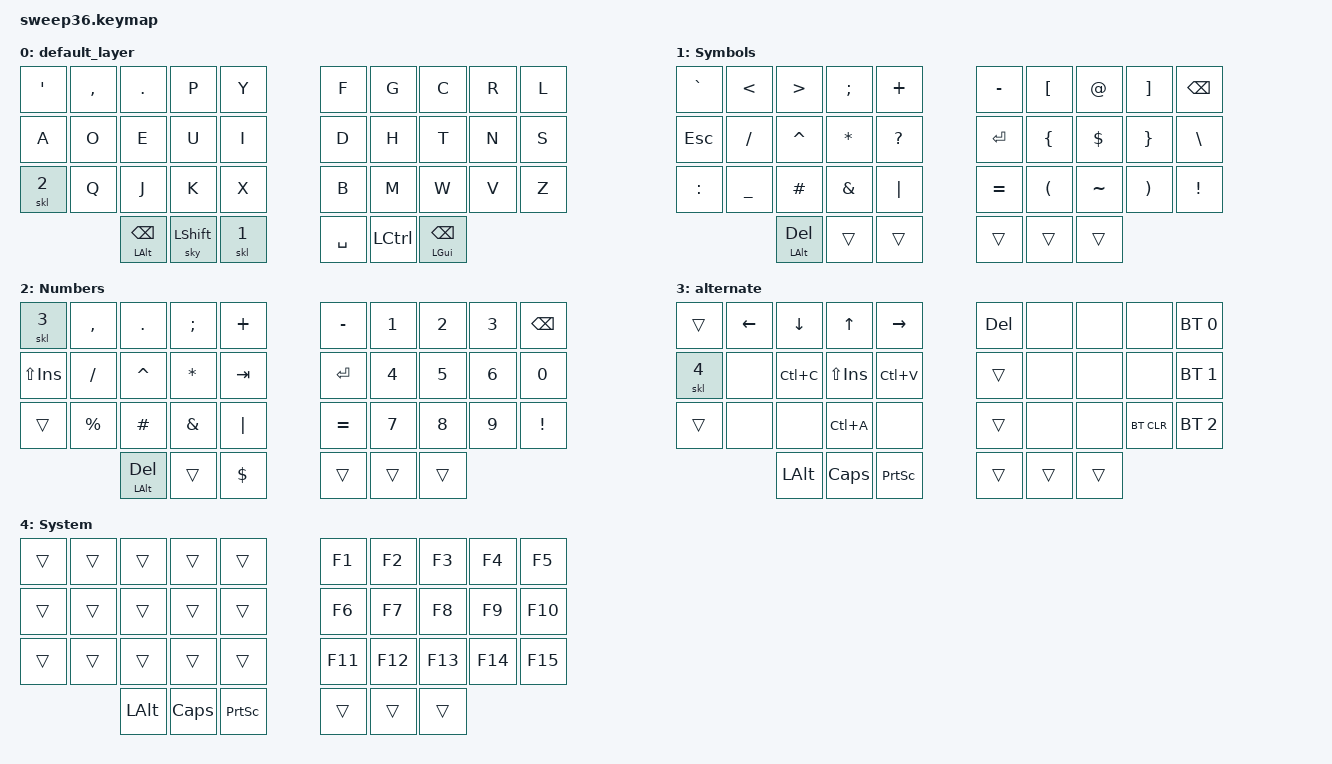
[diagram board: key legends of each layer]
// Copyright (c) 2022 The ZMK Contributors
// SPDX-License-Identifier: MIT

#include <behaviors.dtsi>
#include <dt-bindings/zmk/keys.h>
#include <dt-bindings/zmk/bt.h>


/ {


    behaviors {
        ht: hold_tap {
            label = "hold_tap";
            compatible = "zmk,behavior-hold-tap";
            #binding-cells = <2>;
            flavor = "hold-preferred";
            tapping-term-ms = <200>;
            quick-tap-ms = <200>;
            global-quick-tap;
            bindings = <&kp>, <&kp>;
        };

        skl: sticky_key_quick_release {
        compatible = "zmk,behavior-sticky-key";
        label = "STICKY_KEY_QUICK_RELEASE";
        #binding-cells = <1>;
        bindings = <&mo>;
        quick-release;
        release-after-ms = <150>;
      };
        sky: sticky_mod_quick_release {
        compatible = "zmk,behavior-sticky-key";
        label = "STICKY_MOD_QUICK_RELEASE";
        #binding-cells = <1>;
        bindings = <&kp>;
        quick-release;
        release-after-ms = <230>;
      };

    };
keymap {
        compatible = "zmk,keymap";

        default_layer {
            bindings = <
                &kp SQT     &kp COMMA  &kp DOT   &kp P     &kp Y       &kp F     &kp G     &kp C     &kp R     &kp L
                &kp A       &kp O      &kp E     &kp U     &kp I       &kp D     &kp H     &kp T     &kp N     &kp S
                &skl 2      &kp Q      &kp J     &kp K     &kp X       &kp B     &kp M     &kp W     &kp V     &kp Z
                &ht LALT BSPC  &sky LSHFT  &skl 1     &kp SPACE  &kp LCTRL  &ht LGUI BSPC
            >;
        };

        Symbols {
            bindings = <
                &kp GRAVE  &kp LT     &kp GT    &kp SEMI   &kp PLUS     &kp MINUS &kp LBKT  &kp AT     &kp RBKT   &kp BSPC
                &kp ESC    &kp FSLH   &kp CARET &kp ASTRK  &kp QMARK    &kp RET   &kp LBRC  &kp DLLR   &kp RBRC   &kp BSLH
                &kp COLON  &kp UNDER  &kp HASH  &kp AMPS   &kp PIPE     &kp EQUAL &kp LPAR  &kp TILDE  &kp RPAR   &kp EXCL
                &ht LALT DEL  &trans  &trans    &trans     &trans     &trans
            >;
        };

        Numbers {
            bindings = <
                &skl 3      &kp COMMA  &kp DOT   &kp SEMI   &kp PLUS     &kp MINUS &kp N1    &kp N2     &kp N3     &kp BSPC
                &kp LS(INS) &kp FSLH   &kp CARET &kp ASTRK  &kp TAB      &kp RET   &kp N4    &kp N5     &kp N6     &kp N0
                &trans      &kp PRCNT  &kp HASH  &kp AMPS   &kp PIPE     &kp EQUAL &kp N7    &kp N8     &kp N9     &kp EXCL
                &ht LALT DEL  &trans  &kp DLLR   &trans     &trans     &trans
            >;
        };

        alternate {
            bindings = <
                &trans     &kp LEFT   &kp DOWN  &kp UP     &kp RIGHT    &kp DEL    &none     &none     &none     &bt BT_SEL 0
                &skl 4     &none      &kp LC(C) &kp LS(INS) &kp LC(V)   &trans     &none    &none     &none     &bt BT_SEL 1
                &trans     &none      &none     &kp LC(A)  &none        &trans     &none     &none     &bt BT_CLR &bt BT_SEL 2
                &kp LALT   &kp CAPS   &kp PSCRN  &trans     &trans       &trans
            >;
        };

        System {
            bindings = <
                &trans     &trans     &trans    &trans     &trans       &kp F1     &kp F2    &kp F3    &kp F4     &kp F5
                &trans     &trans     &trans    &trans     &trans       &kp F6     &kp F7    &kp F8    &kp F9     &kp F10
                &trans     &trans     &trans    &trans     &trans       &kp F11    &kp F12   &kp F13   &kp F14    &kp F15
                &kp LALT   &kp CAPS   &kp PSCRN &trans     &trans       &trans
            >;
        };
    };
    /* keymap { */
    /*     compatible = "zmk,keymap"; */
    /*     default_layer { */
    /*         bindings = < */
    /*     //╭──────────┬──────────┬──────────┬──────────┬──────────╮   ╭──────────┬──────────┬──────────┬──────────┬──────────╮ */
    /*     //│  '       │  ,       │  .       │  P       │  Y       │   │  F       │  G       │  C       │  R       │  L       │ */
    /*         &kp SQT    &kp COMMA  &kp DOT    &kp P      &kp Y          &kp F      &kp G      &kp C      &kp R      &kp L */
    /*     //├──────────┼──────────┼──────────┼──────────┼──────────┤   ├──────────┼──────────┼──────────┼──────────┼──────────┤ */
    /*     //│  A       │  O       │  E       │  U       │  I       │   │  D       │  H       │  T       │  N       │  S       │ */
    /*         &kp A      &kp O      &kp E      &kp U      &kp I          &kp D      &kp H      &kp T      &kp N      &kp S */
    /*     //├──────────┼──────────┼──────────┼──────────┼──────────┤   ├──────────┼──────────┼──────────┼──────────┼──────────┤ */
    /*     //│  ;       │  Q       │  J       │  K       │  X       │   │  B       │  M       │  W       │  V       │  Z       │ */
    /*         &skl 2     &kp Q      &kp J      &kp K      &kp X          &kp B      &kp M      &kp W      &kp V      &kp Z */
    /*     //╰──────────┴──────────┼──────────┼──────────┼──────────┤   ├──────────┼──────────┼──────────┼──────────┴──────────╯ */
    /*                          &ht LALT BSPC   &sky LSHFT  &skl 1         &kp SPACE  &kp LCTRL  &ht LGUI BSPC */
    /*     //                      ╰──────────┴──────────┴──────────╯   ╰──────────┴──────────┴──────────╯ */
    /*         >; */
    /*     }; */
    /*    Symbols { */
    /*      bindings = < */
    /*    //╭──────────┬──────────┬──────────┬──────────┬──────────╮   ╭──────────┬──────────┬──────────┬──────────┬──────────╮ */
    /*    //│  `       │  <       │          │  ;       │  +       │   │  -       │  [       │  @       │  ]       │   BCSP   │ */
    /*        &kp GRAVE  &kp LT      &kp GT     &kp SEMI   &kp PLUS       &kp MINUS  &kp LBKT   &kp AT     &kp RBKT    &kp BSPC */
    /*    //├──────────┼──────────┼──────────┼──────────┼──────────┤   ├──────────┼──────────┼──────────┼──────────┼──────────┤ */
    /*    //│  ESC     │  /       │  ^       │  *       │  ?       │   │  ENTR    │  {       │  $       │  }       │  \       │ */
    /*        &kp ESC    &kp FSLH    &kp CARET  &kp QMARK  &kp UNDER      &kp RET    &kp LBRC   &kp DLLR   &kp RBRC   &kp BSLH */
    /*    //├──────────┼──────────┼──────────┼──────────┼──────────┤   ├──────────┼──────────┼──────────┼──────────┼──────────┤ */
    /*    //│  :       │  _       │  #       │  &       │  |       │   │  =       │  (       │  ~       │  )       │  !       │ */
    /*        &kp COLON  &kp UNDER   &kp HASH   &kp AMPS   &kp PIPE      &kp EQUAL  &kp LPAR   &kp TILDE  &kp RPAR   &kp EXCL */
    /*    //╰──────────┴──────────┼──────────┼──────────┼──────────┤   ├──────────┼──────────┼──────────┼──────────┴──────────╯ */
    /*                              &trans     &trans     &trans         &trans     &trans     &trans */
    /*    //                      ╰──────────┴──────────┴──────────╯   ╰──────────┴──────────┴──────────╯ */
    /*        >; */
    /*    }; */
    /*     Numbers { */
    /*         bindings = < */
    /*     //╭──────────┬──────────┬──────────┬──────────┬──────────╮   ╭──────────┬──────────┬──────────┬──────────┬──────────╮ */
    /*     //│ layer 3  │  ,       │  .       │  ;       │  +       │   │ -        │ 1        │ 2        │ 3        │  BCSP    │ */
    /*         &mo 3      &kp COMMA   &kp DOT    &kp SEMI   &kp PLUS      &kp MINUS   &kp N1     &kp N2     &kp N3      &kp BSPC */
    /*     //├──────────┼──────────┼──────────┼──────────┼──────────┤   ├──────────┼──────────┼──────────┼──────────┼──────────┤ */
    /*     //│ INS      │  /       │  ^       │  *       │  TAB     │   │ ENTR     │ 4        │ 5        │ 6        │  0       │ */
    /*         &kp INS    &kp FSLH   &kp CARET  &kp ASTRK  &kp TAB        &kp ENTER   &kp N4     &kp N5     &kp N6      &kp N0 */
    /*     //├──────────┼──────────┼──────────┼──────────┼──────────┤   ├──────────┼──────────┼──────────┼──────────┼──────────┤ */
    /*     //│          │  %       │  #       │  &       │  |       │   │ =        │ 7        │ 8        │ 9        │  !       │ */
    /*         &trans     &kp PRCNT  &kp HASH   &kp AMPS   &kp PIPE       &kp EQUAL   &kp N7     &kp N8     &kp N9      &kp EXCL */
    /*     //╰──────────┴──────────┼──────────┼──────────┼──────────┤   ├──────────┼──────────┼──────────┼──────────┴──────────╯ */
    /*                               &trans      &trans     &trans         &trans     &trans     &trans */
    /*     //                      ╰──────────┴──────────┴──────────╯   ╰──────────┴──────────┴──────────╯ */
    /*         >; */
    /*     }; */
    /*     alternate { */
    /*         bindings = < */
    /*     //╭──────────┬──────────┬──────────┬──────────┬──────────╮   ╭──────────┬──────────┬──────────┬──────────┬──────────╮ */
    /*     //│          │  LEFT    │  DOWN    │  UP      │  RIGHT   │   │  DEL     │          │          │          │PROFILE 0 │ */
    /*         &trans     &kp LEFT   &kp DOWN  &kp UP     &kp RIGHT      &kp DEL    &trans     &trans     &trans     &bt BT_SEL 0 */
    /*     //├──────────┼──────────┼──────────┼──────────┼──────────┤   ├──────────┼──────────┼──────────┼──────────┼──────────┤ */
    /*     //│  layer 3      | F6       │  F7      │  F8      │  F9      │   │BOOTLOADER│          │          │          │PROFILE 1 │ */
    /*         &mo 3     &kp F6     &kp F7     &kp F8     &kp F9        &bootloader  &trans     &trans     &trans     &bt BT_SEL 1 */
    /*     //├──────────┼──────────┼──────────┼──────────┼──────────┤   ├──────────┼──────────┼──────────┼──────────┼──────────┤ */
    /*     //│ F10      │ F11      │ F12      │ CLEAR BT │PROFILE 2 │   │          │          │          │ Caps Lck │ Print scn│ */
    /*         &trans    &kp F11    &kp F12    &kp PSCRN  &kp CAPS      &sys_reset   &trans     &trans     &bt BT_CLR &bt BT_SEL 2 */
    /*     //╰──────────┴──────────┼──────────┼──────────┼──────────┤   ├──────────┼──────────┼──────────┼──────────┴──────────╯ */
    /*                               &trans     &kp CAPS   &kp PSCRN      &trans     &trans     &trans */
    /*     //                      ╰──────────┴──────────┴──────────╯   ╰──────────┴──────────┴──────────╯ */
    /*         >; */
    /*     }; */
    /*     System { */
    /*         bindings = < */
    /*     //╭──────────┬──────────┬──────────┬──────────┬──────────╮   ╭──────────┬──────────┬──────────┬──────────┬──────────╮ */
    /*     //│          │          │          │          │          │   │  DEL     │          │          │          │PROFILE 0 │ */
    /*         &trans     &trans     &trans     &trans     &trans          &kp F1    &kp F2     &kp F3     &kp F4     &kp F5 */
    /*     //├──────────┼──────────┼──────────┼──────────┼──────────┤   ├──────────┼──────────┼──────────┼──────────┼──────────┤ */
    /*     //│          |          │          │          │          │   │BOOTLOADER│          │          │          │PROFILE 1 │ */
    /*         &trans     &trans     &trans     &trans     &trans          &kp F6    &kp F7     &kp F8     &kp F9     &kp F10 */
    /*     //├──────────┼──────────┼──────────┼──────────┼──────────┤   ├──────────┼──────────┼──────────┼──────────┼──────────┤ */
    /*     //│          │          │          │          │          │   │          │          │          │ Caps Lck │ Print scn│ */
    /*         &trans     &trans     &trans     &trans     &trans          &kp F11   &kp F12    &kp F13    &kp F14    &kp F15 */
    /*     //╰──────────┴──────────┼──────────┼──────────┼──────────┤   ├──────────┼──────────┼──────────┼──────────┴──────────╯ */
    /*                               &trans     &kp CAPS   &kp PSCRN         &trans     &trans     &trans */
    /*     //                      ╰──────────┴──────────┴──────────╯   ╰──────────┴──────────┴──────────╯ */
    /*         >; */
    /*     }; */
    /* }; */
};
